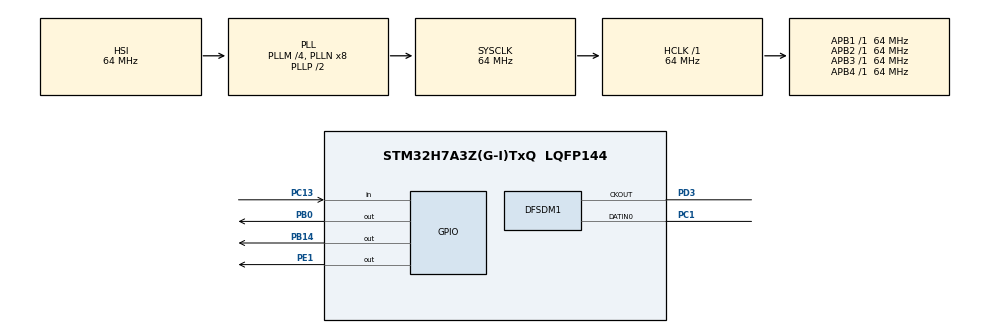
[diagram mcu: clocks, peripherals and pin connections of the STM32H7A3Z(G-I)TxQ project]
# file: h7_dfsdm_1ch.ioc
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CORTEX_M7.default_mode_Activation=1
DFSDM1.Divider=20
DFSDM1.FastMode_reg_FIL0=ENABLE
DFSDM1.Filter_regChannel_FIL0=DFSDM_CHANNEL_0
DFSDM1.Fosr_FIL0=64
DFSDM1.SincOrder_FIL0=DFSDM_FILTER_SINC3_ORDER
Mcu.Family=STM32H7
Mcu.Name=STM32H7A3Z(G-I)TxQ
Mcu.Package=LQFP144
NUCLEO-H7A3ZI-Q.BUTTON=1
NUCLEO-H7A3ZI-Q.LD1=true
NUCLEO-H7A3ZI-Q.LD2=true
NUCLEO-H7A3ZI-Q.LD3=true
NUCLEO-H7A3ZI-Q.VCP=true
NVIC.EXTI15_10_IRQn=true\:0\:0\:false\:false\:true\:false\:true\:true
NVIC.PriorityGroup=NVIC_PRIORITYGROUP_4
PB0.Signal=GPIO_Output
PB14.Signal=GPIO_Output
PC1.Signal=S_DATAIN0DFSDM1
PC13.Signal=GPIO_Input
PC14-OSC32_IN.GPIO_Label=OSC32_IN
PC14-OSC32_IN.Signal=RCC_OSC32_IN
PC15-OSC32_OUT.GPIO_Label=OSC32_OUT
PC15-OSC32_OUT.Signal=RCC_OSC32_OUT
PD3.Signal=S_CKOUTDFSDM1
PD8.Signal=USART3_TX
PD9.Signal=USART3_RX
PE1.Signal=GPIO_Output
PH0-OSC_IN.GPIO_Label=PH0-MCU
PH0-OSC_IN.Signal=RCC_OSC_IN
PH1-OSC_OUT.GPIO_Label=PH1-MCU
PH1-OSC_OUT.Signal=RCC_OSC_OUT
ProjectManager.HeapSize=0x200
ProjectManager.StackSize=0x400
ProjectManager.TargetToolchain=STM32CubeIDE
RCC.ADCFreq_Value=129000000
RCC.APB1Freq_Value=64000000
RCC.APB2Freq_Value=64000000
RCC.APB3Freq_Value=64000000
RCC.APB4Freq_Value=64000000
RCC.CortexFreq_Value=64000000
RCC.DIVM1=4
RCC.DIVM3=1
RCC.DIVN1=8
RCC.DIVN3=24
RCC.DIVQ1=4
RCC.HCLKFreq_Value=64000000
RCC.HSE_VALUE=8000000
RCC.PLLFRACN=0
RCC.PWR_Regulator_Voltage_Scale=PWR_REGULATOR_VOLTAGE_SCALE0
RCC.SYSCLKFreq_VALUE=64000000
RCC.SYSCLKSource=RCC_SYSCLKSOURCE_PLLCLK
RCC.SupplySource=PWR_DIRECT_SMPS_SUPPLY
RCC.USBCLockSelection=RCC_USBCLKSOURCE_HSI48
RCC.USBFreq_Value=48000000
SH.S_CKOUTDFSDM1.0=DFSDM1_CKOUT,PDM_SPI_input_from_ch0_and_internal_clock
SH.S_DATAIN0DFSDM1.0=DFSDM1_DATIN0,PDM_SPI_input_from_ch0_and_internal_clock
VP_MEMORYMAP_VS_MEMORYMAP.Mode=CurAppReg
VP_NUCLEO-H7A3ZI-Q_VS_BSP_COMMON.Mode=COMMON
board=NUCLEO-H7A3ZI-Q

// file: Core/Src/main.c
/* USER CODE BEGIN Header */
/**
  ******************************************************************************
  * @file           : main.c
  * @brief          : Main program body
  ******************************************************************************
  * @attention
  *
  * Copyright (c) 2026 STMicroelectronics.
  * All rights reserved.
  *
  * This software is licensed under terms that can be found in the LICENSE file
  * in the root directory of this software component.
  * If no LICENSE file comes with this software, it is provided AS-IS.
  *
  ******************************************************************************
  */
/* USER CODE END Header */
#include "main.h"

/* USER CODE BEGIN Includes */
#include <stdio.h>
#include <string.h>

/* USER CODE END Includes */

COM_InitTypeDef BspCOMInit;

DFSDM_Filter_HandleTypeDef hdfsdm1_filter0;
DFSDM_Channel_HandleTypeDef hdfsdm1_channel0;

/* USER CODE BEGIN PV */
#define N_SAMPLES 5000              // 0.1 s at 50 kHz / 50 kHzで0.1秒分
static int32_t mic_buf[N_SAMPLES];  // captured samples / 取り込んだ値

/* USER CODE END PV */

void SystemClock_Config(void);
static void MPU_Config(void);
static void MX_GPIO_Init(void);
static void MX_DFSDM1_Init(void);

/* USER CODE BEGIN 0 */
/* Send a text string to the PC over the ST-LINK virtual COM port.
   ST-LINKの仮想COMポートで、文字列をPCへ送る */
static void send_text(const char *s)
{
  HAL_UART_Transmit(&hcom_uart[COM1], (uint8_t *)s, strlen(s), 100);
}

/* Capture N_SAMPLES from the PDM mic via DFSDM (polling), then send them as text.
   DFSDMでマイクの値をN_SAMPLES個取り込み（ポーリング）、文字でPCへ送る */
static void capture_and_send(void)
{
  uint32_t ch;
  char line[24];

  HAL_DFSDM_FilterRegularStart(&hdfsdm1_filter0);

  /* Discard the first outputs while the Sinc3 filter settles.
     Sinc3フィルタが落ち着くまでの最初の値は捨てる */
  for (int i = 0; i < 16; i++) {
    HAL_DFSDM_FilterPollForRegConversion(&hdfsdm1_filter0, 10);
    (void)HAL_DFSDM_FilterGetRegularValue(&hdfsdm1_filter0, &ch);
  }

  for (int i = 0; i < N_SAMPLES; i++) {
    if (HAL_DFSDM_FilterPollForRegConversion(&hdfsdm1_filter0, 10) != HAL_OK) {
      HAL_DFSDM_FilterRegularStop(&hdfsdm1_filter0);
      send_text("ERROR timeout\r\n");   // no data from DFSDM / DFSDMから値が来ない
      return;
    }
    mic_buf[i] = HAL_DFSDM_FilterGetRegularValue(&hdfsdm1_filter0, &ch);
  }
  HAL_DFSDM_FilterRegularStop(&hdfsdm1_filter0);

  send_text("START\r\n");
  for (int i = 0; i < N_SAMPLES; i++) {
    snprintf(line, sizeof(line), "%ld\r\n", (long)mic_buf[i]);
    send_text(line);
  }
  send_text("END\r\n");
}

/* USER CODE END 0 */

int main(void)
{

  /* MPU Configuration--------------------------------------------------------*/
  MPU_Config();

  /* MCU Configuration--------------------------------------------------------*/

  /* Reset of all peripherals, Initializes the Flash interface and the Systick. */
  HAL_Init();

  /* Configure the system clock */
  SystemClock_Config();

  /* Initialize all configured peripherals */
  MX_GPIO_Init();
  MX_DFSDM1_Init();

  /* Initialize leds */
  BSP_LED_Init(LED_GREEN);
  BSP_LED_Init(LED_YELLOW);
  BSP_LED_Init(LED_RED);

  /* Initialize USER push-button, will be used to trigger an interrupt each time it's pressed.*/
  BSP_PB_Init(BUTTON_USER, BUTTON_MODE_EXTI);

  /* Initialize COM1 port (115200, 8 bits (7-bit data + 1 stop bit), no parity */
  BspCOMInit.BaudRate   = 115200;
  BspCOMInit.WordLength = COM_WORDLENGTH_8B;
  BspCOMInit.StopBits   = COM_STOPBITS_1;
  BspCOMInit.Parity     = COM_PARITY_NONE;
  BspCOMInit.HwFlowCtl  = COM_HWCONTROL_NONE;
  if (BSP_COM_Init(COM1, &BspCOMInit) != BSP_ERROR_NONE)
  {
    Error_Handler();
  }

  /* Infinite loop */
  while (1)
  {

    /* USER CODE BEGIN 3 */
	    if (BSP_PB_GetState(BUTTON_USER) == 1) {   // blue USER button pressed / 青ボタンが押された
	      BSP_LED_On(LED_YELLOW);
	      capture_and_send();
	      BSP_LED_Off(LED_YELLOW);
	      while (BSP_PB_GetState(BUTTON_USER) == 1) { }   // wait for release / 離すまで待つ
	    }
  }
  /* USER CODE END 3 */
}

void SystemClock_Config(void)
{
  RCC_OscInitTypeDef RCC_OscInitStruct = {0};
  RCC_ClkInitTypeDef RCC_ClkInitStruct = {0};

  /*AXI clock gating */
  RCC->CKGAENR = 0xFFFFFFFF;

  /** Supply configuration update enable
  */
  HAL_PWREx_ConfigSupply(PWR_DIRECT_SMPS_SUPPLY);

  /** Configure the main internal regulator output voltage
  */
  __HAL_PWR_VOLTAGESCALING_CONFIG(PWR_REGULATOR_VOLTAGE_SCALE0);

  while(!__HAL_PWR_GET_FLAG(PWR_FLAG_VOSRDY)) {}

  /** Initializes the RCC Oscillators according to the specified parameters
  * in the RCC_OscInitTypeDef structure.
  */
  RCC_OscInitStruct.OscillatorType = RCC_OSCILLATORTYPE_HSI;
  RCC_OscInitStruct.HSIState = RCC_HSI_DIV1;
  RCC_OscInitStruct.HSICalibrationValue = 64;
  RCC_OscInitStruct.PLL.PLLState = RCC_PLL_ON;
  RCC_OscInitStruct.PLL.PLLSource = RCC_PLLSOURCE_HSI;
  RCC_OscInitStruct.PLL.PLLM = 4;
  RCC_OscInitStruct.PLL.PLLN = 8;
  RCC_OscInitStruct.PLL.PLLP = 2;
  RCC_OscInitStruct.PLL.PLLQ = 4;
  RCC_OscInitStruct.PLL.PLLR = 2;
  RCC_OscInitStruct.PLL.PLLRGE = RCC_PLL1VCIRANGE_3;
  RCC_OscInitStruct.PLL.PLLVCOSEL = RCC_PLL1VCOWIDE;
  RCC_OscInitStruct.PLL.PLLFRACN = 0;
  if (HAL_RCC_OscConfig(&RCC_OscInitStruct) != HAL_OK)
  {
    Error_Handler();
  }

  /** Initializes the CPU, AHB and APB buses clocks
  */
  RCC_ClkInitStruct.ClockType = RCC_CLOCKTYPE_HCLK|RCC_CLOCKTYPE_SYSCLK
                              |RCC_CLOCKTYPE_PCLK1|RCC_CLOCKTYPE_PCLK2
                              |RCC_CLOCKTYPE_D3PCLK1|RCC_CLOCKTYPE_D1PCLK1;
  RCC_ClkInitStruct.SYSCLKSource = RCC_SYSCLKSOURCE_PLLCLK;
  RCC_ClkInitStruct.SYSCLKDivider = RCC_SYSCLK_DIV1;
  RCC_ClkInitStruct.AHBCLKDivider = RCC_HCLK_DIV1;
  RCC_ClkInitStruct.APB3CLKDivider = RCC_APB3_DIV1;
  RCC_ClkInitStruct.APB1CLKDivider = RCC_APB1_DIV1;
  RCC_ClkInitStruct.APB2CLKDivider = RCC_APB2_DIV1;
  RCC_ClkInitStruct.APB4CLKDivider = RCC_APB4_DIV1;

  if (HAL_RCC_ClockConfig(&RCC_ClkInitStruct, FLASH_LATENCY_1) != HAL_OK)
  {
    Error_Handler();
  }
}

static void MX_DFSDM1_Init(void)
{

  hdfsdm1_filter0.Instance = DFSDM1_Filter0;
  hdfsdm1_filter0.Init.RegularParam.Trigger = DFSDM_FILTER_SW_TRIGGER;
  hdfsdm1_filter0.Init.RegularParam.FastMode = ENABLE;
  hdfsdm1_filter0.Init.RegularParam.DmaMode = DISABLE;
  hdfsdm1_filter0.Init.FilterParam.SincOrder = DFSDM_FILTER_SINC3_ORDER;
  hdfsdm1_filter0.Init.FilterParam.Oversampling = 64;
  hdfsdm1_filter0.Init.FilterParam.IntOversampling = 1;
  if (HAL_DFSDM_FilterInit(&hdfsdm1_filter0) != HAL_OK)
  {
    Error_Handler();
  }
  hdfsdm1_channel0.Instance = DFSDM1_Channel0;
  hdfsdm1_channel0.Init.OutputClock.Activation = ENABLE;
  hdfsdm1_channel0.Init.OutputClock.Selection = DFSDM_CHANNEL_OUTPUT_CLOCK_SYSTEM;
  hdfsdm1_channel0.Init.OutputClock.Divider = 20;
  hdfsdm1_channel0.Init.Input.Multiplexer = DFSDM_CHANNEL_EXTERNAL_INPUTS;
  hdfsdm1_channel0.Init.Input.DataPacking = DFSDM_CHANNEL_STANDARD_MODE;
  hdfsdm1_channel0.Init.Input.Pins = DFSDM_CHANNEL_SAME_CHANNEL_PINS;
  hdfsdm1_channel0.Init.SerialInterface.Type = DFSDM_CHANNEL_SPI_RISING;
  hdfsdm1_channel0.Init.SerialInterface.SpiClock = DFSDM_CHANNEL_SPI_CLOCK_INTERNAL;
  hdfsdm1_channel0.Init.Awd.FilterOrder = DFSDM_CHANNEL_FASTSINC_ORDER;
  hdfsdm1_channel0.Init.Awd.Oversampling = 1;
  hdfsdm1_channel0.Init.Offset = 0;
  hdfsdm1_channel0.Init.RightBitShift = 0x00;
  if (HAL_DFSDM_ChannelInit(&hdfsdm1_channel0) != HAL_OK)
  {
    Error_Handler();
  }
  if (HAL_DFSDM_FilterConfigRegChannel(&hdfsdm1_filter0, DFSDM_CHANNEL_0, DFSDM_CONTINUOUS_CONV_ON) != HAL_OK)
  {
    Error_Handler();
  }

}

static void MX_GPIO_Init(void)
{

  /* GPIO Ports Clock Enable */
  __HAL_RCC_GPIOC_CLK_ENABLE();
  __HAL_RCC_GPIOH_CLK_ENABLE();
  __HAL_RCC_GPIOD_CLK_ENABLE();

}

 /* MPU Configuration */

void MPU_Config(void)
{
  MPU_Region_InitTypeDef MPU_InitStruct = {0};

  /* Disables the MPU */
  HAL_MPU_Disable();

  /** Initializes and configures the Region and the memory to be protected
  */
  MPU_InitStruct.Enable = MPU_REGION_ENABLE;
  MPU_InitStruct.Number = MPU_REGION_NUMBER0;
  MPU_InitStruct.BaseAddress = 0x0;
  MPU_InitStruct.Size = MPU_REGION_SIZE_4GB;
  MPU_InitStruct.SubRegionDisable = 0x87;
  MPU_InitStruct.TypeExtField = MPU_TEX_LEVEL0;
  MPU_InitStruct.AccessPermission = MPU_REGION_NO_ACCESS;
  MPU_InitStruct.DisableExec = MPU_INSTRUCTION_ACCESS_DISABLE;
  MPU_InitStruct.IsShareable = MPU_ACCESS_SHAREABLE;
  MPU_InitStruct.IsCacheable = MPU_ACCESS_NOT_CACHEABLE;
  MPU_InitStruct.IsBufferable = MPU_ACCESS_NOT_BUFFERABLE;

  HAL_MPU_ConfigRegion(&MPU_InitStruct);
  /* Enables the MPU */
  HAL_MPU_Enable(MPU_PRIVILEGED_DEFAULT);

}

void Error_Handler(void)
{
  __disable_irq();
  while (1)
  {
  }
}
